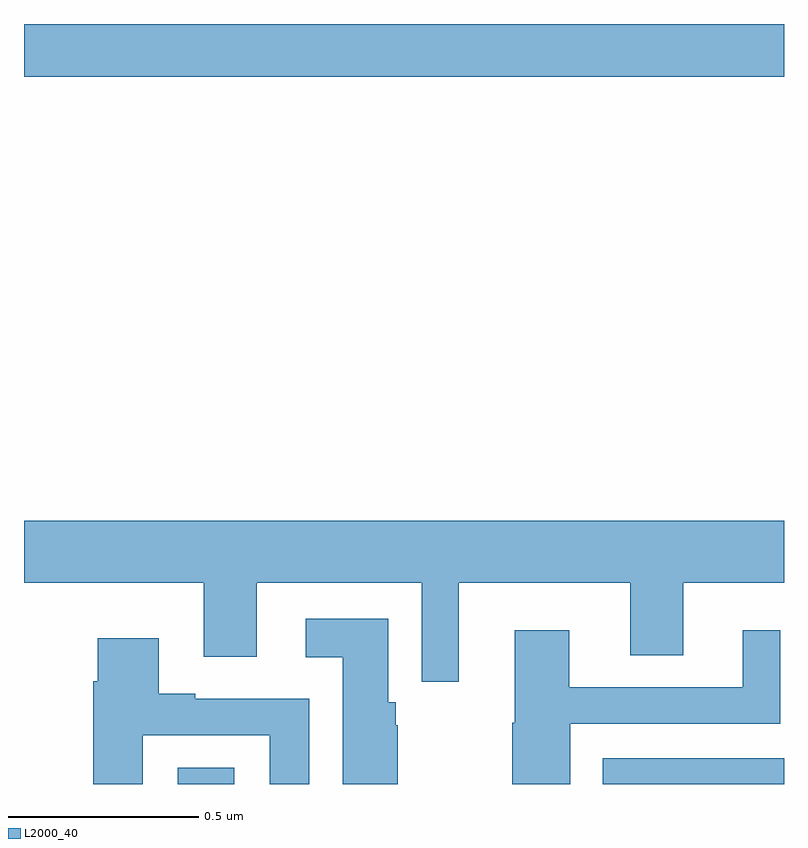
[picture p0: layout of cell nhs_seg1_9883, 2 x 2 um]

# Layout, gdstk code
import gdstk
lib = gdstk.Library(unit=1e-6, precision=1e-09)
def R(c, l, rs):  # rectangles x0, y0, x1, y1
    for r in rs: c.add(gdstk.rectangle(r[:2], r[2:], *l))
def P(c, l, *ps):  # polygons
    for p in ps: c.add(gdstk.Polygon(p, *l))
L2000_40 = (2000, 40)

nhs_seg1_9883 = lib.new_cell('nhs_seg1_9883')
R(nhs_seg1_9883, L2000_40, [(234.404,555.199,234.553,555.242), (235.523,555.199,236,555.267), (234,557.06,236,557.199)])
P(nhs_seg1_9883, L2000_40, [(235.144,555.728),(235.595,555.728),(235.595,555.538),(235.735,555.538),(235.735,555.728),(236,555.728),(236,555.892),(234,555.892),(234,555.728),(234.473,555.728),(234.473,555.534),(234.613,555.534),(234.613,555.728),(235.047,555.728),(235.047,555.468),(235.144,555.468)],
  [(234.984,555.354),(234.978,555.354),(234.978,555.414),(234.958,555.414),(234.958,555.634),(234.741,555.634),(234.741,555.533),(234.839,555.533),(234.839,555.199),(234.984,555.199)],
  [(235.438,555.357),(235.99,555.357),(235.99,555.604),(235.892,555.604),(235.892,555.453),(235.435,555.453),(235.435,555.604),(235.292,555.604),(235.292,555.36),(235.285,555.36),(235.285,555.199),(235.438,555.199)],
  [(234.313,555.327),(234.647,555.327),(234.647,555.199),(234.751,555.199),(234.751,555.423),(234.451,555.423),(234.451,555.436),(234.355,555.436),(234.355,555.583),(234.194,555.583),(234.194,555.47),(234.182,555.47),(234.182,555.199),(234.313,555.199)])

lib.write_gds('nhs_seg1_9883.gds')
